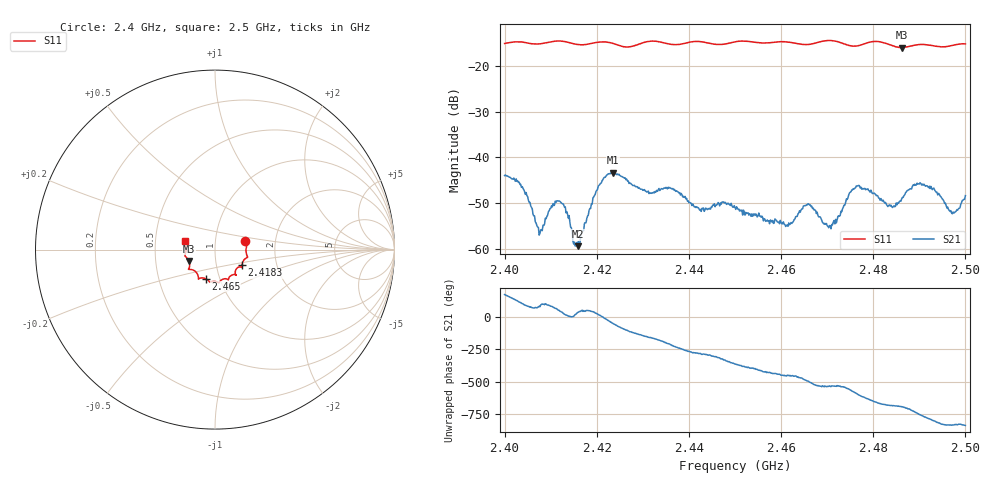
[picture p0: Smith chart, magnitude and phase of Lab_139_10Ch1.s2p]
# Hz S RI R
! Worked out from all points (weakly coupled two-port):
!   601 points, 2.4 GHz to 2.5 GHz, reference 50 ohm
!   highest |S21| = -43.31 dB at 2.4235 GHz (marker M1); lowest = -59.4 dB at 2.4158 GHz (marker M2)
!   lowest |S11| = -16.0 dB at 2.4862 GHz (marker M3), VSWR 1.38, Z = 37.1 - j4.81 ohm
!   |S11| at or under -10 dB: start of sweep to end of sweep
!   S12 and S22 are empty: the file has one direction only
!   S11 on the Smith chart (normalised r, x): 2.4 GHz: 1.40, +0.13; 2.4183 GHz: 1.33, -0.24; 2.465 GHz: 0.86, -0.29; 2.5 GHz: 0.71, +0.07
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2.4e9  0.1689 0.0457  -0.00633 0.000372  0 0  0 0
2.403667e9  0.1797 0.029  -0.00161 0.00442  0 0  0 0
2.407667e9  0.1732 -0.0117  0.000204 0.00146  0 0  0 0
2.412333e9  0.1811 -0.0427  0.00238 0.00208  0 0  0 0
2.415833e9  0.1599 -0.0597  0.000865 0.000634  0 0  0 0
2.416667e9  0.1549 -0.0683  0.000918 0.00114  0 0  0 0
2.418333e9  0.1498 -0.0868  0.00166 0.00205  0 0  0 0
2.420833e9  0.1516 -0.1003  0.00508 0.00111  0 0  0 0
2.4235e9  0.1461 -0.0968  0.0046 -0.00504  0 0  0 0
2.433333e9  0.1168 -0.1414  -0.00439 -0.000332  0 0  0 0
2.442833e9  0.0724 -0.1675  0.000904 0.00263  0 0  0 0
2.45e9  0.0251 -0.1808  0.00282 -0.000183  0 0  0 0
2.461333e9  -0.0311 -0.1791  -1.79e-05 -0.00182  0 0  0 0
2.465e9  -0.0527 -0.1621  -0.00168 -0.00242  0 0  0 0
2.466667e9  -0.0714 -0.1576  -0.00259 -0.00136  0 0  0 0
2.470667e9  -0.0924 -0.1647  -0.00179 -9.29e-05  0 0  0 0
2.476833e9  -0.1198 -0.1147  -0.00224 0.0044  0 0  0 0
2.483333e9  -0.1421 -0.0961  0.00238 0.00177  0 0  0 0
2.486167e9  -0.1448 -0.0632  0.00319 0.00149  0 0  0 0
2.489833e9  -0.1659 -0.0374  0.00438 -0.00271  0 0  0 0
2.497167e9  -0.1641 0.0289  -0.0011 -0.00215  0 0  0 0
2.5e9  -0.1667 0.0474  -0.00197 -0.00327  0 0  0 0
